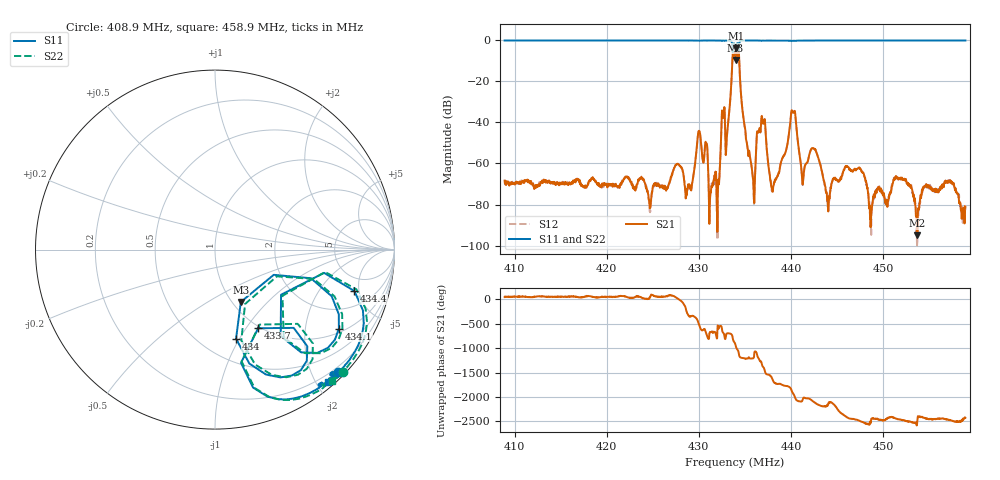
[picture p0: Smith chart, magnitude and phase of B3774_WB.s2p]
! Matrix data file written by TouchstoneData, EPCOS AG
! FILENAME: "newformat_B3774_WB.s2p"
! COMMENT: "(B3774_WB.s2p)"
! INFO: nport=2, nfreq=1601
! DATE: "Fri Sep 21 11:08:54 2012"
! USER: "Wilfried Schott"
! port | pin | signal
!  1  |  2  |  IN
!  2  |  5  |  OUT
# MHZ S MA R 50
! freq  magS11 angS11  magS21 angS21  magS12 angS12  magS22 angS22
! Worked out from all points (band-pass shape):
!   1601 points, 408.9 MHz to 458.9 MHz, reference 50 ohm
!   highest |S21| = -3.90 dB at 434 MHz (marker M1); lowest = -94.8 dB at 453.7 MHz (marker M2)
!   |S21| within 3 dB of the highest: 433.9022 MHz to 434.0936 MHz (191.4 kHz wide, 0.0441 % of centre); 434.279 MHz to 434.3465 MHz (67.4 kHz wide, 0.0155 % of centre) (the widest 2 of 3)
!   lowest |S11| = -9.8 dB at 434 MHz (marker M3), VSWR 1.96, Z = 54.7 - j35.7 ohm
!   |S11| at or under -10 dB: nowhere
!   |S22| runs from -9.2 to -0.1 dB; largest |S21 - S12| = 0.0011
!   S11 on the Smith chart (normalised r, x): 408.9 MHz: 0.11, -2.42; 433.7 MHz: 0.98, -1.14; 434 MHz: 0.72, -0.97; 434.1 MHz: 1.14, -3.04; 434.4 MHz: 3.33, -4.48; 458.9 MHz: 0.09, -2.16
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408.92  0.9683 -44.8  0.0003836 50.8  0.0003396 50.5  0.9849 -43.8
417.2638  0.9694 -45.9  0.0002856 40.4  0.0002978 42.8  0.986 -44.8
425.6075  0.9694 -47.2  0.0003258 57.4  0.0003164 53.1  0.9854 -46.1
428.9825  0.9666 -48.0  0.0003075 13.0  0.0002645 10.6  0.9826 -46.9
430.0138  0.9595 -48.3  0.006209 -154.0  0.006194 -154.6  0.9751 -47.2
432.0138  0.967 -50.3  2.189e-05 101.9  1.403e-05 -163.2  0.9817 -49.3
433.67  0.4997 -61.3  0.4541 -71.0  0.4541 -71.0  0.4864 -59.2
433.92  0.6632 -73.2  0.4901 179.2  0.4902 179.1  0.6781 -70.8
433.9513  0.5102 -76.7  0.5713 163.0  0.5715 162.9  0.527 -73.9
433.9825  0.3253 -63.7  0.6373 142.1  0.6379 142.1  0.3463 -61.1
434.0138  0.3562 -23.3  0.638 118.2  0.6388 118.2  0.376 -23.4
434.1388  0.8185 -32.5  0.3843 61.7  0.3849 61.6  0.835 -31.8
434.3888  0.8106 -16.6  0.2788 -80.6  0.2791 -80.8  0.8189 -15.7
435.8575  0.9706 -44.4  0.0004622 -126.9  0.0004581 -129.1  0.9848 -43.3
436.9513  0.9641 -45.7  0.009485 59.3  0.009438 59.2  0.9788 -44.5
437.9825  0.9638 -46.5  0.0002054 163.9  0.0002316 161.9  0.9791 -45.3
440.2013  0.9521 -46.7  0.01726 -124.2  0.01726 -124.4  0.9674 -45.4
441.2325  0.9637 -46.7  0.0003514 90.3  0.0003875 88.4  0.9793 -45.5
442.2638  0.9649 -46.9  0.002322 88.0  0.002356 87.4  0.9787 -45.8
450.6075  0.9691 -48.5  0.0001599 93.5  0.0001393 101.8  0.9819 -47.3
453.7013  0.969 -48.9  1.814e-05 10.1  1.279e-05 8.0  0.9818 -47.7
458.92  0.969 -49.6  8.71e-05 91.8  8.454e-05 106.2  0.9809 -48.4
